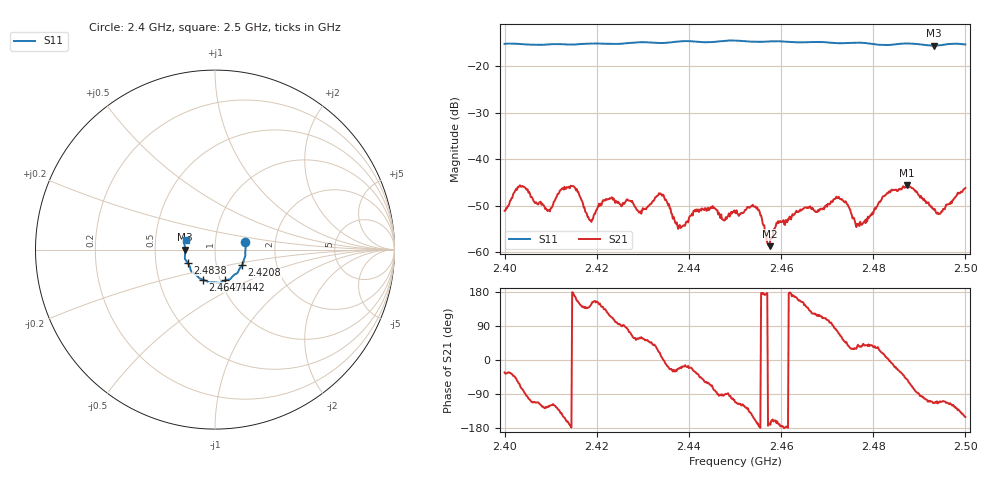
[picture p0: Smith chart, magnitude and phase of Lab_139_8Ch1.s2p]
# Hz S RI R 50
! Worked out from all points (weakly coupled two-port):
!   601 points, 2.4 GHz to 2.5 GHz, reference 50 ohm
!   highest |S21| = -45.64 dB at 2.4873 GHz (marker M1); lowest = -58.7 dB at 2.4575 GHz (marker M2)
!   lowest |S11| = -15.6 dB at 2.4932 GHz (marker M3), VSWR 1.40, Z = 35.8 - j0.0894 ohm
!   |S11| at or under -10 dB: start of sweep to end of sweep
!   S12 and S22 are empty: the file has one direction only
!   S11 on the Smith chart (normalised r, x): 2.4 GHz: 1.40, +0.12; 2.4208 GHz: 1.33, -0.24; 2.4442 GHz: 1.05, -0.37; 2.4647 GHz: 0.83, -0.29; 2.4838 GHz: 0.73, -0.11; 2.5 GHz: 0.72, +0.08
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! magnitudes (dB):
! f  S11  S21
! 2.4 GHz  -15.2  -51.1
! 2.4033 GHz  -15.2  -45.6
! 2.4093 GHz  -15.4  -51.2
! 2.413 GHz  -15.3  -46.0
! 2.4167 GHz  -15.3  -48.8
! 2.4187 GHz  -15.2  -53.2
! 2.4208 GHz  -15.2  -49.6
! 2.4333 GHz  -15.1  -47.8
! 2.438 GHz  -14.7  -54.2
! 2.4442 GHz  -14.9  -50.5
! 2.45 GHz  -14.5  -51.4
! 2.4547 GHz  -14.8  -50.6
! 2.4575 GHz  -14.7  -58.7
! 2.4647 GHz  -14.9  -50.8
! 2.4667 GHz  -14.8  -50.8
! 2.4725 GHz  -15.1  -48.1
! 2.4772 GHz  -15.0  -53.5
! 2.4833 GHz  -15.5  -47.3
! 2.4838 GHz  -15.4  -46.8
! 2.4873 GHz  -15.1  -45.6
! 2.4932 GHz  -15.6  -50.9
! 2.5 GHz  -15.3  -46.2
